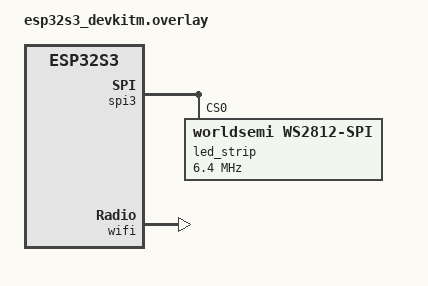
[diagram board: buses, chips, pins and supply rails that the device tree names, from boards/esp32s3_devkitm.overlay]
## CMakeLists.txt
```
#-------------------------------------------------------------------------------
# Zephyr Example Application
#
# Copyright (c) 2021 Nordic Semiconductor ASA
# SPDX-License-Identifier: Apache-2.0

cmake_minimum_required(VERSION 3.13.1)
find_package(Zephyr REQUIRED HINTS $ENV{ZEPHYR_BASE})

project(app)

add_compile_definitions(RADIOLIB_EXCLUDE_CC1101 RADIOLIB_EXCLUDE_SX126X RADIOLIB_EXCLUDE_RF69 RADIOLIB_EXCLUDE_RFM2X RADIOLIB_EXCLUDE_SX1233)
add_compile_definitions(RADIOLIB_EXCLUDE_SX1231 RADIOLIB_EXCLUDE_SX128X RADIOLIB_EXCLUDE_SI443X RADIOLIB_EXCLUDE_NRF24)
add_compile_definitions(RADIOLIB_EXCLUDE_FSK4)

file(GLOB_RECURSE radiolib_sources
  "./lib/radiolib/src/*.cpp"
)

file(GLOB_RECURSE radiolib_zephyr_sources
  "./lib/radiolib/zephyr/src/*.cpp" 
)

file(GLOB_RECURSE zephyr_radio_driver_sources
  "./lib/radiolib/zephyr/src/drivers/radio/*.c" 
)

#add_subdirectory(./lib/radiolib)
#zephyr_compile_options(-DCONFIG_ESP_SYSTEM_GDBSTUB_RUNTIME)
target_sources(app PRIVATE src/main.cpp src/wifi.c src/config_mgr.c src/controller.c src/mqtt_thread.c src/radio.cpp ${radiolib_sources} ${radiolib_zephyr_sources} ${zephyr_radio_driver_sources})
```

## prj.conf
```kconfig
CONFIG_CPP=y

# For Ra-02 (SX1278 433Mhz) Module
CONFIG_SPI=y
CONFIG_GPIO=y

# Kernel options
#CONFIG_MAIN_STACK_SIZE=2048
CONFIG_ENTROPY_GENERATOR=y
CONFIG_TEST_RANDOM_GENERATOR=y
CONFIG_INIT_STACKS=y

# Logging
CONFIG_LOG=y
CONFIG_PRINTK=y
CONFIG_LOG_MODE_IMMEDIATE=y
# CONFIG_LOG_DEFAULT_LEVEL=4
# CONFIG_LOG_OVERRIDE_LEVEL=4

# Generic networking options
CONFIG_NETWORKING=y
#CONFIG_NET_LOG=y


# Enable Wifi
CONFIG_WIFI=y
CONFIG_NET_L2_WIFI_MGMT=y
CONFIG_NET_DHCPV4=y
CONFIG_NET_L2_ETHERNET=y

CONFIG_NET_UDP=y
CONFIG_NET_TCP=y
CONFIG_NET_IPV6=n
CONFIG_NET_IPV4=y
CONFIG_NET_SOCKETS=y
CONFIG_NET_SOCKETS_POSIX_NAMES=y
CONFIG_POSIX_MAX_FDS=6
CONFIG_NET_CONNECTION_MANAGER=y
CONFIG_NET_STATISTICS=y

# Network buffers
CONFIG_NET_PKT_RX_COUNT=16
CONFIG_NET_PKT_TX_COUNT=16
CONFIG_NET_BUF_RX_COUNT=64
CONFIG_NET_BUF_TX_COUNT=64
CONFIG_NET_CONTEXT_NET_PKT_POOL=y

# IP address options
CONFIG_NET_MAX_CONTEXTS=10

# Network shell
CONFIG_NET_SHELL=y
CONFIG_SHELL=y

# Network application options and configuration
CONFIG_NET_CONFIG_SETTINGS=y

# Testing on qemu Only
#CONFIG_NET_CONFIG_NEED_IPV6=y
#CONFIG_NET_CONFIG_MY_IPV6_ADDR="2001:db8::1"
#CONFIG_NET_CONFIG_PEER_IPV6_ADDR="2001:db8::2"
#CONFIG_NET_CONFIG_NEED_IPV4=y
# CONFIG_NET_CONFIG_MY_IPV4_ADDR="192.0.2.1"
# CONFIG_NET_CONFIG_MY_IPV4_NETMASK="255.255.255.0"
# CONFIG_NET_CONFIG_MY_IPV4_GW="192.0.2.2"
# CONFIG_NET_CONFIG_PEER_IPV4_ADDR="192.0.2.2"

#MQTT Client
CONFIG_MQTT_LIB=y
CONFIG_MQTT_LOG_LEVEL_DBG=y

# JSON Library
CONFIG_JSON_LIBRARY=y

#NVS & Flash for Config Storage
CONFIG_FLASH=y
CONFIG_FLASH_PAGE_LAYOUT=y

CONFIG_NVS=y
CONFIG_NVS_LOG_LEVEL_DBG=y
CONFIG_MPU_ALLOW_FLASH_WRITE=y
    
CONFIG_ZBUS=y
# CONFIG_ZBUS_LOG_LEVEL_DBG=y
# CONFIG_ZBUS_CHANNEL_NAME=y
# CONFIG_ZBUS_OBSERVER_NAME=y

CONFIG_ZBUS_RUNTIME_OBSERVERS=y

#CONFIG_DEBUG_COREDUMP=y 
#CONFIG_DEBUG_COREDUMP_BACKEND_LOGGING=y 
```

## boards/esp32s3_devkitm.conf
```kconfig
#CONFIG_HEAP_MEM_POOL_SIZE=65536
```

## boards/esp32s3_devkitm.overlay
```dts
#include <zephyr/dt-bindings/led/led.h>

&spi3 {
	/* Workaround to support WS2812 driver */
	line-idle-low;

        led_strip: ws2812@0 {
                compatible = "worldsemi,ws2812-spi";

                /* SPI */
                reg = <0>; /* ignored, but necessary for SPI bindings */
                spi-max-frequency = <6400000>;

                /* WS2812 */
                chain-length = <1>; /* arbitrary; change at will */
                spi-cpha;
                spi-one-frame = <0xf0>; /* 11110000: 625 ns high and 625 ns low */
                spi-zero-frame = <0xc0>; /* 11000000: 312.5 ns high and 937.5 ns low */
                color-mapping = <LED_COLOR_ID_GREEN
                                 LED_COLOR_ID_RED
                                 LED_COLOR_ID_BLUE>;
        };
};

&pinctrl {
	spim3_default: spim3_default {
		group2 {
			pinmux = <SPIM3_MOSI_GPIO48>;
		};
	};
};

/ {
        aliases {
                led-strip = &led_strip;
        };
};

&wifi {
	status = "okay";
};
```

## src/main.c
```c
/*
 * Copyright (c) 2021 Nordic Semiconductor ASA
 * SPDX-License-Identifier: Apache-2.0
 */

#include <app_version.h>
#include <stdlib.h>
#include <string.h>
#include <zephyr/device.h>
#include <zephyr/kernel.h>
#include <zephyr/logging/log.h>
#include <zephyr/net/mqtt.h>
#include <zephyr/zbus/zbus.h>

#include "config_mgr.h"
#include "controller.h"
#include "mqtt_thread.h"

controller_t *controller;

ZBUS_CHAN_DEFINE(chan_state_updates,   /* Name */
                 struct state_update,  /* Message type */
                 NULL,                 /* Validator */
                 NULL,                 /* User data */
                 ZBUS_OBSERVERS_EMPTY, /* observers */
                 ZBUS_MSG_INIT(.channel = -1, .state = -1, .brightness = -1));

/* 1000 msec = 1 sec */
#define SLEEP_TIME 5000

LOG_MODULE_REGISTER(gs, CONFIG_GETSMART_LOG_LEVEL);

int main(void) {
  LOG_INF("GET Smart Wireless Lighting System Controller (%s) \n",
          APP_VERSION_STRING);

  /* Setup the device config */
  /* TODO Move to board? */
  int res = cfg_init();
  if (res < 0) {
    LOG_INF("Failed to init configuration.");
    return res;
  }
  cfg_inc_boot();
  cfg_print();

  char device_id[CFG_SIZE_DEVICEID_ID];
  cfg_get_value(CFG_DEVICEID_ID, &device_id, CFG_SIZE_DEVICEID_ID);

  controller = malloc(sizeof(controller_t));
  controller->num_lights = 2;  // TODO
  controller->device_id = device_id;
  controller->state_update_channel = (struct zbus_channel *)&chan_state_updates;

  // LOG_INF("radio pointer (main): %p", (void *)&controller->radio);

  mqtt_thread_init(controller);

  while (1) {
    k_sleep(K_SECONDS(5));
  }

  return 0;
}
```

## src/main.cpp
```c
/*
 * Copyright (c) 2021 Nordic Semiconductor ASA
 * SPDX-License-Identifier: Apache-2.0
 */

#include <app_version.h>
#include <stdlib.h>
#include <string.h>
#include <zephyr/device.h>
#include <zephyr/kernel.h>
#include <zephyr/logging/log.h>
#include <zephyr/net/mqtt.h>
#include <zephyr/zbus/zbus.h>

#include "config_mgr.h"
#include "controller.h"
#include "mqtt_thread.h"
#include "wifi.h"

// include the library
#include "../lib/radiolib/src/RadioLib.h"

// include the hardware abstraction layer
#include "../lib/radiolib/zephyr/src/ZephyrHal.h"

#define DEFAULT_RADIO_NODE DT_ALIAS(radio0)
BUILD_ASSERT(DT_NODE_HAS_STATUS(DEFAULT_RADIO_NODE, okay),
             "No default sx1278 radio specified in DT");

controller_t* controller;

ZBUS_CHAN_DEFINE(chan_state_updates,   /* Name */
                 struct state_update,  /* Message type */
                 NULL,                 /* Validator */
                 NULL,                 /* User data */
                 ZBUS_OBSERVERS_EMPTY, /* observers */
                 ZBUS_MSG_INIT(.channel = -1, .state = -1, .brightness = -1));

/* 1000 msec = 1 sec */
#define SLEEP_TIME 5000

LOG_MODULE_REGISTER(gs, CONFIG_GETSMART_LOG_LEVEL);

extern "C" {
int main(void) {
  const struct device* radio_dev = DEVICE_DT_GET(DEFAULT_RADIO_NODE);
  LOG_INF("[%s] Checking SPI Ready...", radio_dev->name);
  if (!device_is_ready(radio_dev)) {
    return 0;
    LOG_ERR("[%s] Device Not Ready.", radio_dev->name);
  }
  LOG_INF("[%s] Device Ready.", radio_dev->name);

  wifi_init();
  wifi_sta_connect();

  LOG_INF("Sleeping so wifi can connect");
  k_sleep(K_MSEC(10000));

  ZephyrHal* hal = new ZephyrHal(radio_dev);
  SX1278 fsk = new Module(hal, RADIOLIB_NC, 47, 21, 48);

  LOG_INF("GET Smart Wireless Lighting System Controller (%s) \n",
          APP_VERSION_STRING);

  /* Setup the device config */
  /* TODO Move to board? */
  int res = cfg_init();
  if (res < 0) {
    LOG_INF("Failed to init configuration.");
    return res;
  }
  cfg_inc_boot();
  cfg_print();

  char device_id[CFG_SIZE_DEVICEID_ID];
  cfg_get_value(CFG_DEVICEID_ID, &device_id, CFG_SIZE_DEVICEID_ID);

  controller = (controller_t*)malloc(sizeof(controller_t));
  // controller->module = &fsk;
  controller->num_lights = 1;  // TODO
  controller->device_id = device_id;
  controller->state_update_channel = (struct zbus_channel*)&chan_state_updates;

  // LOG_INF("radio pointer (main): %p", (void *)&controller->radio);

  mqtt_thread_init(controller);

  while (1) {
    k_sleep(K_SECONDS(5));
  }

  return 0;
}
}
```

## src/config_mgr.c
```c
#include "config_mgr.h"

#include <errno.h>
#include <string.h>
#include <sys/types.h>
#include <zephyr/drivers/flash.h>
#include <zephyr/fs/nvs.h>
#include <zephyr/logging/log.h>
#include <zephyr/storage/flash_map.h>
LOG_MODULE_DECLARE(gs, CONFIG_GETSMART_LOG_LEVEL);

/* 1000 msec = 1 sec */
#define SLEEP_TIME 100

#define NVS_PARTITION storage_partition
#define NVS_PARTITION_DEVICE FIXED_PARTITION_DEVICE(NVS_PARTITION)
#define NVS_PARTITION_OFFSET FIXED_PARTITION_OFFSET(NVS_PARTITION)

/* Maximum length of srtings in config */
#define VALUE_STRING_MAXLEN 128

static struct nvs_fs fs;
static bool initialized = false;

char default_device_id[] = DEFAULT_DEVICE_ID;

// sys_rand_get(void *dst, size_t len)

static void cfg_set_defaults() {
  LOG_INF("Setting default config values.");
  uint32_t reboot_counter = 0U;
  int rc = 0;
  rc = cfg_get_value(CFG_REBOOTCNT_ID, &reboot_counter, sizeof(reboot_counter));
  if (rc <= 0) {
    LOG_INF("No Reboot counter found, adding it at slot %d\n",
            CFG_REBOOTCNT_ID);
    cfg_set_value(CFG_REBOOTCNT_ID, &reboot_counter, sizeof(reboot_counter));
  }

  char device_id[CFG_SIZE_DEVICEID_ID];
  rc = cfg_get_value(CFG_DEVICEID_ID, &device_id, CFG_SIZE_DEVICEID_ID);
  if (rc <= 0) {
    LOG_INF("No device id found, adding it at slot %d\n", CFG_DEVICEID_ID);
    cfg_set_value(CFG_DEVICEID_ID, &default_device_id,
                  strlen(default_device_id));
  }
}

int cfg_init() {
  if (initialized) {
    return -ENOTSUP;
  }
  int rc = 0;
  struct flash_pages_info info;

  /* define the nvs file system by settings with:
   *      sector_size equal to the pagesize,
   *      3 sectors
   *      starting at NVS_PARTITION_OFFSET
   */
  fs.flash_device = NVS_PARTITION_DEVICE;
  if (!device_is_ready(fs.flash_device)) {
    printk("Flash device %s is not ready\n", fs.flash_device->name);
    return -1;
  }
  fs.offset = NVS_PARTITION_OFFSET;
  rc = flash_get_page_info_by_offs(fs.flash_device, fs.offset, &info);
  if (rc) {
    printk("Unable to get page info\n");
    return -1;  // TODO
  }
  fs.sector_size = info.size;
  fs.sector_count = 4U;

  rc = nvs_mount(&fs);
  if (rc) {
    printk("Flash Init failed. ERRNO: %d\n", rc);
    return -1;  // TODO
  }
  cfg_set_defaults();
  initialized = true;
  return 0;
}

ssize_t cfg_get_value(int key, void* value, int len) {
  return nvs_read(&fs, key, value, len);
}

ssize_t cfg_set_value(int key, void* value, int len) {
  return nvs_write(&fs, key, value, len);
}

void cfg_print() {
  uint32_t reboot_counter = 0U;
  cfg_get_value(CFG_REBOOTCNT_ID, &reboot_counter, sizeof(reboot_counter));
  LOG_INF("Config Slot [%d] - CFG_REBOOTCNT_ID: %d", CFG_REBOOTCNT_ID,
          reboot_counter);

  char device_id[VALUE_STRING_MAXLEN];
  cfg_get_value(CFG_DEVICEID_ID, &device_id, VALUE_STRING_MAXLEN);
  LOG_INF("Config Slot [%d] - CFG_DEVICEID_ID: %s", CFG_DEVICEID_ID, device_id);
}

/* Increment the device boot count*/
bool cfg_inc_boot() {
  uint32_t reboot_counter = 0U;
  int rc = 0;
  rc = cfg_get_value(CFG_REBOOTCNT_ID, &reboot_counter, sizeof(reboot_counter));
  if (rc <= 0) {
    return false;
  }
  reboot_counter++;
  rc = cfg_set_value(CFG_REBOOTCNT_ID, &reboot_counter, sizeof(reboot_counter));
  if (rc <= 0) {
    return false;
  }
  return true;
}
```

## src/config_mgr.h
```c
#ifndef __GET_CONFIG_MGR__
#define __GET_CONFIG_MGR__
#include <stdbool.h>
#include <sys/types.h>

/* Config Keys */
#define CFG_REBOOTCNT_ID 1
#define CFG_DEVICEID_ID 2

#define CFG_SIZE_DEVICEID_ID 7

// #if defined(CONFIG_WIFI)
// #else
#define DEFAULT_DEVICE_ID "0f3def"
// #endif

#ifdef __cplusplus
extern "C" {
#endif

int cfg_init();
void cfg_print();
bool cfg_inc_boot();
ssize_t cfg_get_value(int key, void* value, int len);
ssize_t cfg_set_value(int key, void* value, int len);

#ifdef __cplusplus
}
#endif

#endif /*__GET_CONFIG_MGR__*/
```

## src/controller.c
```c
#include "controller.h"

#include <stdint.h>
#include <stdlib.h>
#include <zephyr/kernel.h>
#include <zephyr/logging/log.h>
#include <zephyr/zbus/zbus.h>

#include "radio.h"

LOG_MODULE_DECLARE(gs, CONFIG_GETSMART_LOG_LEVEL);

static void code_to_tx_payload(uint8_t *seq, uint8_t len, uint8_t *msg) {
  // 010101
  // 000 010101010101010101 (9)
  // 0 0101010101010101010101 (11)

  LOG_INF("Code to payload, %d", len);
  LOG_HEXDUMP_INF(seq, len, "Seq: ");

  msg[0] = 0x54;
  msg[1] = 0x2A;
  msg[2] = 0xAA;
  msg[3] = 0xA5;
  msg[4] = 0x55;
  msg[5] = 0x55;

  uint32_t code = 0x40000000;
  uint8_t bit = 27;
  for (int i = 0; i < len; i++) {
    for (int j = seq[i]; j > 0; j--) {
      code |= 1 << bit;
      /// LOG_INF("Bit %d, Code: 0x%02x", bit, code);

      bit -= 2;
    }
    bit -= 1;
  }
  // code |= 1 << (bit - 2);
  LOG_INF("Ending at Bit %d, Code: 0x%08x", bit, code);

  msg[6] = code >> 24;
  msg[7] = code >> 16;
  msg[8] = code >> 8;
  msg[9] = code;
  // memcpy(&msg[6], &code, sizeof(code));
  msg[10] = 0x00;
}

static void update_state(struct controller *controller, int channel, int state,
                         int brightness) {
  controller->state[channel].state = state,
  controller->state[channel].brightness = brightness;

  struct state_update update = {channel, state, brightness};
  int res =
      zbus_chan_pub(controller->state_update_channel, &(update), K_FOREVER);
  LOG_INF("Updated State: channel %d, status:%d, brightness %d, Published: %d",
          channel, state, brightness, res);
}

static int ctlr_on(struct controller *controller, int channel) {
  LOG_INF("Radio Send: Channel %d, Code: ON", channel);
  uint8_t msg[11];
  uint8_t len = 0;
  uint8_t seq[10];

  if (channel == 0) {
    len = 4;
    uint8_t seq2[] = {4, 3, 1, 2};
    memccpy(&seq, &seq2, 0, 4);
  } else if (channel == 1) {
    len = 4;
    uint8_t seq2[] = {3, 4, 1, 2};
    memccpy(&seq, &seq2, 0, len);
  } else {
    return -EINVAL;
  }
  code_to_tx_payload(seq, len, msg);
  radio_tx_repeat(msg, 11, 4);
  update_state(controller, channel, STATE_ON, DIM_LEVELS);
  return 0;
}

static int ctlr_off(struct controller *controller, int channel) {
  LOG_INF("Radio Send: Channel %d, Code: OFF", channel);
  uint8_t msg[11];
  uint8_t seq[10];
  uint8_t len;
  if (channel == 0) {
    len = 2;
    uint8_t seq2[] = {4, 6};
    memccpy(&seq, &seq2, 0, 2);

  } else if (channel == 1) {
    len = 2;
    uint8_t seq2[] = {3, 7};
    memccpy(&seq, &seq2, 0, len);
  } else {
    return -EINVAL;
  }
  code_to_tx_payload(seq, len, msg);
  for (int i = 0; i < 4; i++) {
    radio_tx(msg, 11);
  }

  update_state(controller, channel, STATE_OFF, 0);
  return 0;
}

static int ctlr_dim_up(struct controller *controller, int channel, int steps) {
  LOG_INF("Radio Send: Channel %d, Dim Up: %d", channel, steps);
  uint8_t msg[11] = {0};
  uint8_t msg1[11] = {0};
  uint8_t seq[10];
  uint8_t len;
  if (channel == 0) {
    uint8_t len = 4;
    uint8_t seq[] = {4, 4, 1, 1};
    code_to_tx_payload(seq, len, msg);
    len = 6;
    uint8_t seq1[] = {5, 1, 1, 1, 1, 1};
    code_to_tx_payload(seq1, len, msg1);
    for (int i = 0; i < steps; i++) {
      radio_tx_repeat(msg, 11, 1);
      radio_tx_repeat(msg1, 11, 1);
    }
  } else if (channel == 1) {
    uint8_t len = 4;
    uint8_t seq[] = {3, 5, 1, 1};
    code_to_tx_payload(seq, len, msg);
    len = 6;
    uint8_t seq1[] = {5, 1, 1, 1, 1, 1};
    code_to_tx_payload(seq1, len, msg1);
  } else {
    return -EINVAL;
  }
  for (int i = 0; i < steps; i++) {
    radio_tx_repeat(msg, 11, 1);
    radio_tx_repeat(msg1, 11, 1);
    k_sleep(K_MSEC(1));
  }
  update_state(controller, channel, STATE_ON,
               controller->state[channel].brightness + steps);
  return 0;
}

static int ctlr_dim_down(struct controller *controller, int channel,
                         int steps) {
  LOG_INF("Radio Send: Channel %d, Dim Down: %d", channel, steps);
  uint8_t msg[11] = {0};
  uint8_t msg1[11] = {0};

  uint8_t len;
  if (channel == 0) {
    uint8_t len = 4;
    uint8_t seq[] = {4, 3, 2, 1};
    code_to_tx_payload(seq, len, msg);
    len = 6;
    uint8_t seq1[] = {5, 1, 1, 1, 1, 1};
    code_to_tx_payload(seq1, len, msg1);
    for (int i = 0; i < steps; i++) {
      radio_tx_repeat(msg, 11, 1);
      radio_tx_repeat(msg1, 11, 1);
    }
  } else if (channel == 1) {
    uint8_t len = 4;
    uint8_t seq[] = {3, 4, 2, 1};
    code_to_tx_payload(seq, len, msg);
    len = 6;
    uint8_t seq1[] = {5, 1, 1, 1, 1, 1};
    code_to_tx_payload(seq1, len, msg1);
  } else {
    return -EINVAL;
  }
  for (int i = 0; i < steps; i++) {
    radio_tx_repeat(msg, 11, 1);
    radio_tx_repeat(msg1, 11, 1);
    k_sleep(K_MSEC(1));
  }
  update_state(controller, channel, STATE_ON,
               controller->state[channel].brightness - steps);
  return 0;
}

int request_state(struct controller *controller, int channel, int state,
                  bool set_brightness, int brightness) {
  LOG_INF("Current State: status:%d, brightness %d",
          controller->state[channel].state,
          controller->state[channel].brightness);
  LOG_INF("Request State: status:%d, brightness %d", state, brightness);

  if (controller->state[channel].state != state) {
    if (state == STATE_ON) {
      ctlr_on(controller, channel);
    } else {
      ctlr_off(controller, channel);
    }
  }
  if (set_brightness && controller->state[channel].brightness != brightness) {
    if (brightness <= 1) {
      ctlr_off(controller, channel);
    } else if (brightness > DIM_LEVELS) {
      LOG_ERR("Cannot exceed %d brightness levels", DIM_LEVELS);
    } else {
      int diff = brightness - controller->state[channel].brightness;
      if (diff > 0) {
        ctlr_dim_up(controller, channel, diff);
      } else {
        ctlr_dim_down(controller, channel, abs(diff));
      }
    }
  }

  return 0;
}
```

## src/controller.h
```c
#ifndef __CONTROLLER__
#define __CONTROLLER__
#include <stdbool.h>
#include <stdint.h>
#include <zephyr/kernel.h>
#include <zephyr/zbus/zbus.h>

#include "radio.h"

#define CHANNEL_ALL 0
#define CHANNEL_1 1
#define CHANNEL_2 2
#define CHANNEL_3 3
#define CHANNEL_4 4
#define CHANNEL_COUNT 5

#define OP_ON 0
#define OP_OFF 1
#define OP_DIM_UP 2
#define OP_DIM_DOWN 3
#define OP_COUNT 4

#define STATE_OFF 0
#define STATE_ON 1

#define DIM_LEVELS 64  // Starts at 0?

#define MAX_CODES 4
#define CODE_INDEX(ch, op) \
  (ch * ((CHANNEL_COUNT - 1) * (MAX_CODES + 1))) + (op * (MAX_CODES + 1))

// clang-format off
// const uint8_t codes [12 * 5] = 
//                        { 3, 1, 2, 3, 0,  // ALL ON
//                          1, 1, 0, 0, 0,  // ALL OFF
//                          2, 1, 2, 0, 0,  // ALL DIM_UP
//                          2, 1, 2, 0, 0,  // ALL DIM_DOWN
//                          2, 1, 2, 0, 0,  // CH1 ON
//                          2, 1, 2, 0, 0 };// CH1 OFF
// clang-format off                        

struct light_state {
  int state;
  int brightness;
};

typedef struct controller {
  struct zbus_channel *state_update_channel;
  char* device_id;
  radio_t radio;
  uint8_t num_lights;
  struct light_state state[4];
} controller_t;

struct state_update {
  int channel;
  int state;
  int brightness;
};

typedef struct f_sum {
  sys_snode_t snode;
  struct state_update su;
} f_sum_t;

int request_state(struct controller *controller, int channel, int state,
                  bool set_brightness, int brightness);

#endif /* __CONTROLLER__ */
```

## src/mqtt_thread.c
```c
#include <stdbool.h>
#include <stdio.h>
#include <stdlib.h>
#include <string.h>
#include <zephyr/data/json.h>
#include <zephyr/kernel.h>
#include <zephyr/logging/log.h>
#include <zephyr/net/mqtt.h>
#include <zephyr/net/net_context.h>
#include <zephyr/net/net_core.h>
#include <zephyr/net/net_mgmt.h>
#include <zephyr/net/socket.h>
#include <zephyr/random/random.h>
#include <zephyr/sys/printk.h>
#include <zephyr/zbus/zbus.h>

#include "controller.h"

LOG_MODULE_DECLARE(gs, CONFIG_GETSMART_LOG_LEVEL);

#define MQTT_HA_DISCOVER_TOPIC "homeassistant/light/getsmart/%s-%d/config"
#define MQTT_STATE_TOPIC "getsmart/device/%s/channel/%d/state"
#define MQTT_COMMAND_TOPIC "getsmart/device/%s/channel/%d/cmnd"

#define MQTT_UPDATE_STATE_PAYLOAD "{\"state\":\"%s\", \"brightness\":%d}"

#define MQTT_HA_DISCOVER_PAYLOAD                                              \
  "{\"name\":\"%s\",\"unique_id\":\"%s\", "                                   \
  "\"command_topic\":\"%s\",\"state_topic\":\"%s\","                          \
  "\"schema\":\"json\",\"brightness\":true,\"brightness_scale\":64,"          \
  "\"device\": {\"identifiers\": \"[%s]\",\"name\":\"Get Smart Controller\" " \
  "} }"

#define MQTT_STATE_ON "ON"

typedef struct msg_command {
  char *state;
  int brightness;
} msg_command_t;

static const struct json_obj_descr msg_command_descr[] = {
    JSON_OBJ_DESCR_PRIM(struct msg_command, state, JSON_TOK_STRING),
    JSON_OBJ_DESCR_PRIM(struct msg_command, brightness, JSON_TOK_NUMBER),
};

/* Thread Stack */
#define STACKSIZE 4096
#define APP_MQTT_BUFFER_SIZE 128
#define CONFIG_MQTT_PAYLOAD_BUFFER_SIZE 4256

K_THREAD_STACK_DEFINE(mqtt_thread_stack, STACKSIZE);

K_MUTEX_DEFINE(sock_lock);

/* Thread Data */
struct k_thread mqtt_thread_data;

/* MQTT Client Struct */
static struct mqtt_client client;

/* MQTT Client Connection Status */
static bool is_connected = false;
static bool is_ha_published = false;
static bool is_cmnd_subscribed = false;

/* pointer to the controller */
static controller_t *controller;

/* MQTT Broker details. */
static struct sockaddr_storage broker;

/* MQTT Broker Details */
static const char server_addr[] = "192.168.1.10";
static uint16_t server_port = 1883;
static const char *username = "demonday";
static const char *password = "armad1ll0";
#define MQTT_CLIENTID "getsmart_publisher"

/* Client Identifer TODO: Based on MAC*/
static const char *client_id = "get-smart-MAC";

/* Buffers for MQTT client. */
static uint8_t rx_buffer[APP_MQTT_BUFFER_SIZE];
static uint8_t tx_buffer[APP_MQTT_BUFFER_SIZE];
static uint8_t payload_buf[CONFIG_MQTT_PAYLOAD_BUFFER_SIZE];

#define SOCKET_TIMEOUT_MS 2000

/* File descriptor for socket */
static struct pollfd fds;

int fds_init(struct pollfd *fds) {
  if (client.transport.type == MQTT_TRANSPORT_NON_SECURE) {
    fds->fd = client.transport.tcp.sock;
  } else {
    return -ENOTSUP;
  }

  fds->events = POLLIN;

  return 0;
}

static void data_print(uint8_t *prefix, uint8_t *data, size_t len) {
  char buf[len + 1];

  memcpy(buf, data, len);
  buf[len] = 0;
  LOG_INF("%s%s", (char *)prefix, (char *)buf);
}

static int get_received_payload(size_t length) {
  int ret;
  int err = 0;

  /* Return an error if the payload is larger than the payload buffer.
   * Note: To allow new messages, we have to read the payload before returning.
   */
  if (length > sizeof(payload_buf)) {
    err = -EMSGSIZE;
  }

  /* Truncate payload until it fits in the payload buffer. */
  while (length > sizeof(payload_buf)) {
    ret = mqtt_read_publish_payload_blocking(&client, payload_buf,
                                             (length - sizeof(payload_buf)));
    if (ret == 0) {
      return -EIO;
    } else if (ret < 0) {
      return ret;
    }

    length -= ret;
  }

  ret = mqtt_readall_publish_payload(&client, payload_buf, length);
  if (ret) {
    return ret;
  }

  return err;
}

static void extract_device_info(const char *topic_name, char **device_id,
                                int *channel) {
  // getsmart/device/0f3def/channel/0/cmnd

  char *token, *temp_str;
  int count = 0;

  // Ensure the input string is not NULL
  if (topic_name == NULL) {
    return;
  }

  LOG_INF("Extracting 1%s", topic_name);
  // Duplicate the string since strtok modifies the string
  // temp_str =  strdup(topic_name);

  temp_str = malloc(strlen(topic_name));
  strcpy(temp_str, topic_name);
  if (temp_str == NULL) {
    LOG_INF("strcpy failed.");
    return;
  }
  LOG_INF("Extracting 2 %s", temp_str);

  token = strtok(temp_str, "/");
  LOG_INF("Extracting 3 %s", temp_str);

  while (token != NULL) {
    count++;
    LOG_INF("Token %d:", count);
    if (count == 3) {  // Assuming device_id is always the 4 token
      *device_id = malloc(strlen(topic_name));
      strcpy(*device_id, token);
      //*device_id = strdup(token);
      if (*device_id == NULL) {
        // Handle memory allocation failure
        free(temp_str);
        return;
      }
    }
    if (count == 5) {  // Assuming the channel is always the 5
      *channel = atoi(token);
      break;
    }
    token = strtok(NULL, "/");
  }

  free(temp_str);  // Free the temporary string
}

static void handle_msg_command(char *topic_name, char *msg) {
  char *device_id = NULL;
  int channel = 0;

  extract_device_info(topic_name, &device_id, &channel);

  if (device_id == NULL) {
    LOG_ERR("Unable to obtain deviceid from message. Skipping");
    return;
  }

  struct msg_command command;
  int ret = json_obj_parse(msg, strlen(msg), msg_command_descr,
                           sizeof(msg_command_descr), &command);

  bool set_brightness = (ret == 3);
  if (ret != 3) {
    LOG_DBG("No brightness in MQTT state message");
  }

  LOG_INF("Device:%s, Channel:%d, State: %s, Brightness: %d", device_id,
          channel, command.state, command.brightness);

  int state =
      (strcmp(command.state, MQTT_STATE_ON) == 0) ? STATE_ON : STATE_OFF;
  request_state(controller, channel, state, set_brightness, command.brightness);

  if (device_id != NULL) {
    free(device_id);  // Free the device_id string
  }
}

/* Subscribe to the MQTT Topic(s) to control the device */
static int subscribe_cmnds() {
  struct mqtt_topic topic_list[4];

  for (int i = 0; i < controller->num_lights; i++) {
    char buf[256];
    sprintf(buf, MQTT_COMMAND_TOPIC, controller->device_id, i);
    char *topic_name = malloc(strlen(buf) + 1);
    strcpy(topic_name, buf);
    LOG_INF("Created Topic %s", topic_name);

    struct mqtt_topic subscribe_topic = {
        .topic = {.utf8 = topic_name, .size = strlen(topic_name)},
        .qos = MQTT_QOS_1_AT_LEAST_ONCE};

    topic_list[i] = subscribe_topic;
    LOG_INF("Subscribing to: %s len %u", topic_name,
            (unsigned int)strlen(topic_name));
  }

  const struct mqtt_subscription_list subscription_list = {
      .list = (struct mqtt_topic *)&topic_list,
      .list_count = controller->num_lights,
      .message_id = 1234};

  int res = mqtt_subscribe(&client, &subscription_list);

  // for (int i = 0; i < controller->num_lights; i++) {
  //   free((void *)topic_list[i].topic.utf8);
  // }

  return res;
}

// static int unsubscribe_cmnds(struct mqtt_client *const client) {
//   return 0;  // TODO
// }

int publish_hadiscover() {
  struct mqtt_publish_param param;
  int res = 0;
  for (int i = 0; i < controller->num_lights; i++) {
    char buf[512];

    sprintf(buf, MQTT_HA_DISCOVER_TOPIC, controller->device_id, i);
    char *topic_name = malloc(strlen(buf));
    strcpy(topic_name, buf);

    sprintf(buf, MQTT_COMMAND_TOPIC, controller->device_id, i);
    char *tn_cmnd = malloc(strlen(buf));
    strcpy(tn_cmnd, buf);

    sprintf(buf, MQTT_STATE_TOPIC, controller->device_id, i);
    char *tn_state = malloc(strlen(buf));
    strcpy(tn_state, buf);

    char device_id[20];
    sprintf(device_id, "%s-%d", controller->device_id, i);

    char device_name[40];
    sprintf(device_name, "Get Smart Light  - Channel %d", i);

    sprintf(buf, MQTT_HA_DISCOVER_PAYLOAD, device_name, device_id, tn_cmnd,
            tn_state, controller->device_id);
    char *payload = malloc(strlen(buf));
    strcpy(payload, buf);

    param.message.topic.qos = MQTT_QOS_0_AT_MOST_ONCE;
    param.message.topic.topic.utf8 = (uint8_t *)topic_name;
    param.message.topic.topic.size = strlen(param.message.topic.topic.utf8);
    param.message.payload.data = (uint8_t *)payload;
    param.message.payload.len = strlen(param.message.payload.data);
    param.message_id = sys_rand32_get();
    param.dup_flag = 0U;
    param.retain_flag = 0U;

    k_mutex_lock(&sock_lock, K_FOREVER);
    LOG_INF("Publishing to %s", topic_name);
    res = mqtt_publish(&client, &param);
    k_mutex_unlock(&sock_lock);

    free(topic_name);
    free(tn_cmnd);
    free(tn_state);
    free(payload);

    if (res != 0) {
      LOG_ERR("Error - Publish HA Discover: %d", res);
      return res;
    }
  }
  return 0;
}

int publish_state_update(struct state_update *su) {
  struct mqtt_publish_param param;

  char topic_name[256];
  sprintf(topic_name, MQTT_STATE_TOPIC, controller->device_id, su->channel);

  char payload[256];
  sprintf(payload, MQTT_UPDATE_STATE_PAYLOAD,
          (su->state == STATE_ON) ? "ON" : "OFF", su->brightness);

  param.message.topic.qos = MQTT_QOS_0_AT_MOST_ONCE;
  param.message.topic.topic.utf8 = (uint8_t *)&topic_name;
  param.message.topic.topic.size = strlen(param.message.topic.topic.utf8);
  param.message.payload.data = (uint8_t *)&payload;
  param.message.payload.len = strlen(param.message.payload.data);
  param.message_id = sys_rand32_get();
  param.dup_flag = 0U;
  param.retain_flag = 0U;

  // LOG_INF("Calling publish");
  k_mutex_lock(&sock_lock, K_FOREVER);
  // LOG_INF("Mutex - P - L");
  LOG_INF("Publishing state update to %s", topic_name);
  int res = mqtt_publish(&client, &param);
  k_mutex_unlock(&sock_lock);
  // LOG_INF("Mutex - P - U");
  if (res != 0) {
    LOG_ERR("Error - Publish Result: %d", res);
  }

  return res;
}

ZBUS_SUBSCRIBER_DEFINE(state_update_subscriber, 4);

static void mqtt_subscriber_task(void) {
  const struct zbus_channel *chan;

  while (!zbus_sub_wait(&state_update_subscriber, &chan, K_FOREVER)) {
    struct state_update update;

    if (controller->state_update_channel == chan) {
      zbus_chan_read(controller->state_update_channel, &update, K_FOREVER);

      LOG_INF("From subscriber -> %d,%d,%d", update.channel, update.state,
              update.brightness);

      publish_state_update(&update);
    }
  }
}

K_THREAD_DEFINE(subscriber_task_id, CONFIG_MAIN_STACK_SIZE,
                mqtt_subscriber_task, NULL, NULL, NULL, 3, 0, 0);

/* MQTT Message Handler */
void mqtt_message_handler(struct mqtt_client *, const struct mqtt_evt *evt) {
  int err;
  LOG_INF("Started processing event type %d\n", evt->type);

  switch (evt->type) {
    case MQTT_EVT_CONNACK:
      if (evt->result != 0) {
        LOG_INF("MQTT connect failed %d\n", evt->result);
      } else {
        LOG_INF("MQTT client connected!\n");
        is_connected = true;
        err = subscribe_cmnds();
        if (err) {
          LOG_INF("State TOPIC Subscription request failed %d\n", err);
        }
        err = publish_hadiscover();
        if (err) {
          LOG_INF("State HA Publish failed %d\n", err);
        }
      }
      break;

    case MQTT_EVT_PUBLISH:
      const struct mqtt_publish_param *p = &evt->param.publish;
      LOG_INF("Received message on TOPIC: %s, result=%d len=%d",
              p->message.topic.topic.utf8, evt->result, p->message.payload.len);

      // Extract the data of the recived message
      err = get_received_payload(p->message.payload.len);
      //  On successful extraction of data
      if (err >= 0) {
        data_print("Received: ", payload_buf, p->message.payload.len);
        handle_msg_command((char *)p->message.topic.topic.utf8, payload_buf);
        // On failed extraction of data - Payload buffer is smaller than the
        // recived data . Increase
      } else if (err == -EMSGSIZE) {
        LOG_ERR(
            "Received payload (%d bytes) is larger than the payload buffer "
            "size (%d bytes).",
            p->message.payload.len, sizeof(payload_buf));
      } else {
        LOG_ERR("get_received_payload failed: %d. Don't send any acks...", err);
        break;
      }

      /* Send the appropiate QoS response */
      if (evt->param.publish.message.topic.qos == MQTT_QOS_1_AT_LEAST_ONCE) {
        const struct mqtt_puback_param ack = {
            .message_id = evt->param.publish.message_id};
        mqtt_publish_qos1_ack(&client, &ack);
      } else if (evt->param.publish.message.topic.qos ==
                 MQTT_QOS_2_EXACTLY_ONCE) {
        const struct mqtt_pubrec_param rec = {
            .message_id = evt->param.publish.message_id};
        mqtt_publish_qos2_receive(&client, &rec);
      }
      break;

    case MQTT_EVT_PUBREC:
      if (evt->param.pubrec.message_id == 1234) {
        const struct mqtt_pubrel_param rel = {.message_id =
                                                  evt->param.pubrec.message_id};
        mqtt_publish_qos2_release(&client, &rel);
      }
      break;

    case MQTT_EVT_PUBREL:
      if (evt->param.pubrel.message_id == 1234) {
        const struct mqtt_pubcomp_param comp = {
            .message_id = evt->param.pubrel.message_id};
        err = mqtt_publish_qos2_complete(&client, &comp);
        if (err) {
          LOG_INF("Failed to send PUBCOMP, error: %d\n", err);
        }
      }
      break;

    case MQTT_EVT_PUBCOMP:
      if (evt->param.pubcomp.message_id == 1234) {
        LOG_INF("QoS 2 message flow completed!\n");
      }
      break;

    case MQTT_EVT_SUBACK:
      if (evt->result != 0) {
        LOG_ERR("MQTT SUBACK error %d", evt->result);
        break;
      }

      LOG_INF("SUBACK packet id: %u", evt->param.suback.message_id);
      break;

    case MQTT_EVT_DISCONNECT:
      LOG_INF("MQTT client disconnected %d", evt->result);
      is_connected = false;
      break;

    case MQTT_EVT_PINGRESP:
      LOG_INF("PINGRESP packet");
      break;

    default:
      LOG_INF("Unhandled MQTT event %d\n", evt->type);
      break;
  }
  LOG_INF("Done with event type %d\n", evt->type);
}

/* MQTT Thread Function */
void mqtt_thread(void *arg1, void *arg2, void *arg3) {
  // controller_t *controller = arg2;
  int err;
  LOG_INF("Starting thread...");
  /* Broker Details */
  struct sockaddr_in *broker4 = (struct sockaddr_in *)&broker;
  broker4->sin_family = AF_INET;
  broker4->sin_port = htons(server_port);
  zsock_inet_pton(AF_INET, server_addr, &broker4->sin_addr);

  LOG_INF("Broker Config set");

  /* MQTT client configuration */
  client.broker = &broker;
  LOG_INF("Broker Configured in client...");

  client.client_id.utf8 = (uint8_t *)client_id;
  client.client_id.size = strlen(client_id);
  LOG_INF("ClientId configured...");

  // client->user_name->utf8 = (uint8_t *)username;
  // client->user_name->size = strlen(client->user_name->utf8);
  // client->password->utf8 = (uint8_t *)password;
  // client->password->size = strlen(client->password->utf8);
  // client->client_id.utf8 = (uint8_t *)MQTT_CLIENTID;
  // client->client_id.size = strlen(MQTT_CLIENTID);
  // client->password->utf8 = (uint8_t *)MQTT_PASSWORD;
  // client->password->size = strlen(MQTT_PASSWORD);
  // client->user_name->utf8 = (uint8_t *)MQTT_USERNAME;
  // client->user_name->size = strlen(MQTT_USERNAME);
  client.protocol_version = MQTT_VERSION_3_1_1;
  client.transport.type = MQTT_TRANSPORT_NON_SECURE;

  LOG_INF("Client stings configured...");

  /* MQTT buffers configuration */
  client.rx_buf = rx_buffer;
  LOG_INF("rxbuffer.");
  client.rx_buf_size = sizeof(rx_buffer);
  client.tx_buf = tx_buffer;
  LOG_INF("txbuffer.");
  client.tx_buf_size = sizeof(tx_buffer);

  LOG_INF("Attempting to connect...");

  /* Connect to MQTT broker */
  err = mqtt_connect(&client);
  if (err) {
    LOG_INF("Unable to connect to MQTT broker\n");
    return;
  }
  LOG_INF("Connected...");

  // err = subscribe_cmnds();
  // if (err) {
  //   LOG_INF("State TOPIC Subscription request failed %d\n", err);
  //   return;
  // }

  // err = publish_hadiscover();
  // if (err) {
  //   LOG_INF("Publish HA Discover request failed %d\n", err);
  //   return;
  // }

  err = fds_init(&fds);
  if (err) {
    LOG_ERR("Error in fds_init: %d", err);
    return;
  }

  /* Polling and event loop */
  while (1) {
    k_mutex_lock(&sock_lock, K_FOREVER);
    // LOG_INF("Mutex - L - L");
    err = poll(&fds, 1, 500);
    // LOG_INF("Poll Done: %d", 500);
    if (err < 0) {
      LOG_ERR("Error in poll(): %d", errno);
      k_mutex_unlock(&sock_lock);
      break;
    }

    err = mqtt_live(&client);
    if ((err != 0) && (err != -EAGAIN)) {
      LOG_ERR("Error in mqtt_live: %d", err);
      k_mutex_unlock(&sock_lock);
      break;
    }

    if ((fds.revents & POLLIN) == POLLIN) {
      LOG_INF("Input");
      err = mqtt_input(&client);
      if (err != 0) {
        LOG_ERR("Error in mqtt_input: %d", err);
        break;
        k_mutex_unlock(&sock_lock);
      }
    }

    if ((fds.revents & POLLERR) == POLLERR) {
      LOG_ERR("POLLERR");
      k_mutex_unlock(&sock_lock);
      break;
    }

    if ((fds.revents & POLLNVAL) == POLLNVAL) {
      LOG_ERR("POLLNVAL");
      k_mutex_unlock(&sock_lock);
      break;
    }
    k_mutex_unlock(&sock_lock);

    if (!is_connected) {
      mqtt_abort(&client);
    }
  }
}

int mqtt_thread_init(controller_t *ctrl) {
  controller = ctrl;
  mqtt_client_init(&client);
  /* Initialize MQTT client */
  k_mutex_init(&sock_lock);
  client.evt_cb = mqtt_message_handler;
  zbus_chan_add_obs(controller->state_update_channel, &state_update_subscriber,
                    K_MSEC(200));

  k_thread_create(&mqtt_thread_data, mqtt_thread_stack,
                  K_THREAD_STACK_SIZEOF(mqtt_thread_stack), mqtt_thread, NULL,
                  NULL, NULL, K_PRIO_PREEMPT(7), 0, K_NO_WAIT);

  return 0;
}
```

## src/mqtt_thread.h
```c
#include "controller.h"

#ifdef __cplusplus
extern "C" {
#endif
int mqtt_thread_init(controller_t *ctrl);
#ifdef __cplusplus
}
#endif
```

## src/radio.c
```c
#include "radio.h"

#include <zephyr/logging/log.h>

LOG_MODULE_REGISTER(gs_r, CONFIG_GETSMARTRADIO_LOG_LEVEL);

int radio_init(radio_cfg_t *cfg) { return 0; }

int radio_tx(radio_t *radio, uint8_t *msg, uint8_t len) {
  LOG_INF("radio pointer: %p", (void *)radio);
  // LOG_HEXDUMP_INF((uint8_t *)msg, len, "Transmitting:");

  return 0;
}
```

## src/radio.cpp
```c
#include <stdlib.h>
#include <zephyr/logging/log.h>

#include "../lib/radiolib/src/RadioLib.h"
#include "../lib/radiolib/zephyr/src/ZephyrHal.h"

LOG_MODULE_REGISTER(gs_radio, CONFIG_GETSMART_LOG_LEVEL);

#define DEFAULT_RADIO_NODE DT_ALIAS(radio0)
BUILD_ASSERT(DT_NODE_HAS_STATUS(DEFAULT_RADIO_NODE, okay),
             "No default sx1278 radio specified in DT");

SX1278* fsk;

extern "C" {
int radio_init() {
  const struct device* radio_dev = DEVICE_DT_GET(DEFAULT_RADIO_NODE);
  LOG_INF("[%s] Checking SPI Ready...", radio_dev->name);
  if (!device_is_ready(radio_dev)) {
    LOG_ERR("[%s] Device Not Ready.", radio_dev->name);
    return -1;
  }
  LOG_INF("[%s] Device Ready.", radio_dev->name);

  ZephyrHal* hal = new ZephyrHal(radio_dev);
  fsk = new SX1278(new Module(hal, RADIOLIB_NC, 47, 21, 48));

  LOG_INF("Initializing FSK ...");
  // Working - int state = fsk->beginFSK(433.978, 1.8, 30.0, 7.8, 2, 0, false);
  int state = fsk->beginFSK(433.978, 1.6, 30.0, 7.8, 8, 0, false);
  if (state != RADIOLIB_ERR_NONE) {
    LOG_ERR("beginFSK failed, code %d", state);
    return (1);
  }
  LOG_INF("beginFSK success!");
  fsk->setGain(1);
  return 0;
}

int radio_tx_repeat(uint8_t* msg, uint8_t len, uint8_t count) {
  // uint8_t payload_len = ((sizeof(msg) * len) * count) + count;
  // uint8_t* payload = (uint8_t*)malloc(payload_len);
  for (int i = 0; i < count; i++) {
    // uint8_t idx = i * (len + 1);
    // memcpy(&payload[idx], msg, len);
    // // payload[idx + len] = 0xAA;
    // payload[idx + len] = 0x00;
    LOG_HEXDUMP_INF(msg, len, "TX:");
    fsk->transmit(msg, len);
  }
  // free(payload);
  return 0;
}
int radio_tx(uint8_t* msg, uint8_t len) { return radio_tx_repeat(msg, len, 1); }
}
```

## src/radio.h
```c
#include <stdint.h>

#ifndef __RADIO__
typedef struct radio {
  int f;
} radio_t;

typedef struct radio_cfg {
  float freq;
} radio_cfg_t;
#define __RADIO__
#endif

int radio_init(radio_cfg_t *cfg);
int radio_tx(radio_t *radio, uint8_t *msg, uint8_t len);
```

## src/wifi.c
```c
#include <errno.h>
#include <stdio.h>
#include <stdlib.h>
#include <string.h>
#include <zephyr/kernel.h>
#include <zephyr/logging/log.h>
#include <zephyr/net/net_event.h>
#include <zephyr/net/net_if.h>
#include <zephyr/net/wifi_mgmt.h>
#include <zephyr/sys/printk.h>

// LOG_MODULE_REGISTER("wifi", LOG_LEVEL_INF);

// TODO: make ap name dynamic based on device (e.g. MAC)
// #define SSID "getsmart_ap"
#define SSID "ALHN-A898"
#define PASSWORD "XA5nh7pZXf"

static struct net_mgmt_event_callback wifi_cb;
static struct net_mgmt_event_callback ipv4_cb;

static void handle_wifi_connect_result(struct net_mgmt_event_callback *cb) {
  const struct wifi_status *status = (const struct wifi_status *)cb->info;

  if (status->status) {
    printk("Connection request failed (%d)\n", status->status);
  } else {
    printk("Connected\n");
    // k_sem_give(&wifi_connected);
  }
}

static void handle_wifi_disconnect_result(struct net_mgmt_event_callback *cb) {
  const struct wifi_status *status = (const struct wifi_status *)cb->info;

  if (status->status) {
    printk("Disconnection request (%d)\n", status->status);
  } else {
    printk("Disconnected\n");
    // k_sem_take(&wifi_connected, K_NO_WAIT);
  }
}

static void handle_ipv4_result(struct net_if *iface) {
  int i = 0;

  for (i = 0; i < NET_IF_MAX_IPV4_ADDR; i++) {
    char buf[NET_IPV4_ADDR_LEN];

    if (iface->config.ip.ipv4->unicast[i].addr_type != NET_ADDR_DHCP) {
      continue;
    }

    printk("IPv4 address: %s\n",
           net_addr_ntop(AF_INET,
                         &iface->config.ip.ipv4->unicast[i].address.in_addr,
                         buf, sizeof(buf)));
    printk("Subnet: %s\n",
           net_addr_ntop(AF_INET, &iface->config.ip.ipv4->netmask, buf,
                         sizeof(buf)));
    printk("Router: %s\n", net_addr_ntop(AF_INET, &iface->config.ip.ipv4->gw,
                                         buf, sizeof(buf)));
  }

  // k_sem_give(&ipv4_address_obtained);
}

static void wifi_mgmt_event_handler(struct net_mgmt_event_callback *cb,
                                    uint32_t mgmt_event, struct net_if *iface) {
  switch (mgmt_event) {
    case NET_EVENT_WIFI_CONNECT_RESULT:
      handle_wifi_connect_result(cb);
      break;

    case NET_EVENT_WIFI_DISCONNECT_RESULT:
      handle_wifi_disconnect_result(cb);
      break;

    case NET_EVENT_IPV4_ADDR_ADD:
      handle_ipv4_result(iface);
      break;

    default:
      break;
  }
}

void wifi_status(void) {
  struct net_if *iface = net_if_get_default();

  struct wifi_iface_status status = {0};

  if (net_mgmt(NET_REQUEST_WIFI_IFACE_STATUS, iface, &status,
               sizeof(struct wifi_iface_status))) {
    printk("WiFi Status Request Failed\n");
  }

  printk("\n");

  if (status.state >= WIFI_STATE_ASSOCIATED) {
    printk("SSID: %-32s\n", status.ssid);
    printk("Band: %s\n", wifi_band_txt(status.band));
    printk("Channel: %d\n", status.channel);
    printk("Security: %s\n", wifi_security_txt(status.security));
    printk("RSSI: %d\n", status.rssi);
  }
}

int wifi_sta_connect() {
  struct net_if *iface = net_if_get_first_wifi();

  if (iface == NULL) {
    printk("No interface found. Exit.\n");
    return -1;
  } else {
    printk("Interface found.\n");
  }

  static struct wifi_connect_req_params cnx_params;

  cnx_params.channel = WIFI_CHANNEL_ANY;
  cnx_params.ssid = SSID;
  cnx_params.ssid_length = strlen(SSID);
  cnx_params.psk = PASSWORD;
  cnx_params.psk_length = strlen(PASSWORD);
  // cnx_params.sae_password = PASSWORD;
  // cnx_params.sae_password_length = strlen(PASSWORD);
  cnx_params.security = 1;
  cnx_params.band = WIFI_FREQ_BAND_2_4_GHZ;
  cnx_params.mfp = WIFI_MFP_DISABLE;

  printk("Connecting to SSID: %s\n", cnx_params.ssid);

  if (net_mgmt(NET_REQUEST_WIFI_CONNECT, iface, &cnx_params,
               sizeof(struct wifi_connect_req_params))) {
    printk("WiFi Connection Request Failed\n");
    return -ENETDOWN;
  }

  wifi_status();
  return 1;
}

int wifi_ap_enable() {
  struct net_if *iface = net_if_get_first_wifi();
  printk("Enter: wifi_ap_enable");

  if (iface == NULL) {
    printk("No interface found. Exit");
    return -1;
  } else {
    printk("Interface found.");
  }

  static struct wifi_connect_req_params cnx_params;

  cnx_params.band = WIFI_FREQ_BAND_UNKNOWN;
  cnx_params.channel = WIFI_CHANNEL_ANY;
  cnx_params.ssid = SSID;
  cnx_params.ssid_length = strlen(SSID);
  cnx_params.security = WIFI_SECURITY_TYPE_NONE;

  int ret;
  printk("Trying to enter AP mode for %s\n", iface->if_dev->dev->name);
  ret = net_mgmt(NET_REQUEST_WIFI_AP_ENABLE, iface, &cnx_params,
                 sizeof(struct wifi_connect_req_params));
  if (ret) {
    printk("AP mode enable failed: %s\n", strerror(-ret));
    return -ENETDOWN;
  }

  printk("AP mode enabled. SSID: %s\n", SSID);

  return 1;
}

int wifi_ap_disable() {
  struct net_if *iface = net_if_get_first_wifi();
  int ret;

  ret = net_mgmt(NET_REQUEST_WIFI_AP_DISABLE, iface, NULL, 0);
  if (ret) {
    printk("AP mode disable failed: %s\n", strerror(-ret));
    return -ENETDOWN;
  }

  printk("AP mode disabled\n");

  return 0;
}

int wifi_init() {
  printk("WiFi Example\nBoard: %s\n", CONFIG_BOARD);

  net_mgmt_init_event_callback(
      &wifi_cb, wifi_mgmt_event_handler,
      NET_EVENT_WIFI_CONNECT_RESULT | NET_EVENT_WIFI_DISCONNECT_RESULT);

  net_mgmt_init_event_callback(&ipv4_cb, wifi_mgmt_event_handler,
                               NET_EVENT_IPV4_ADDR_ADD);

  net_mgmt_add_event_callback(&wifi_cb);
  // net_mgmt_add_event_callback(&ipv4_cb);
  printk("WiFi Init Complete\n");

  return 0;
}
```

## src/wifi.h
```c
int wifi_ap_enable();
int wifi_sta_connect();
int wifi_ap_disable();
int wifi_init();
int wifi_status();
```
